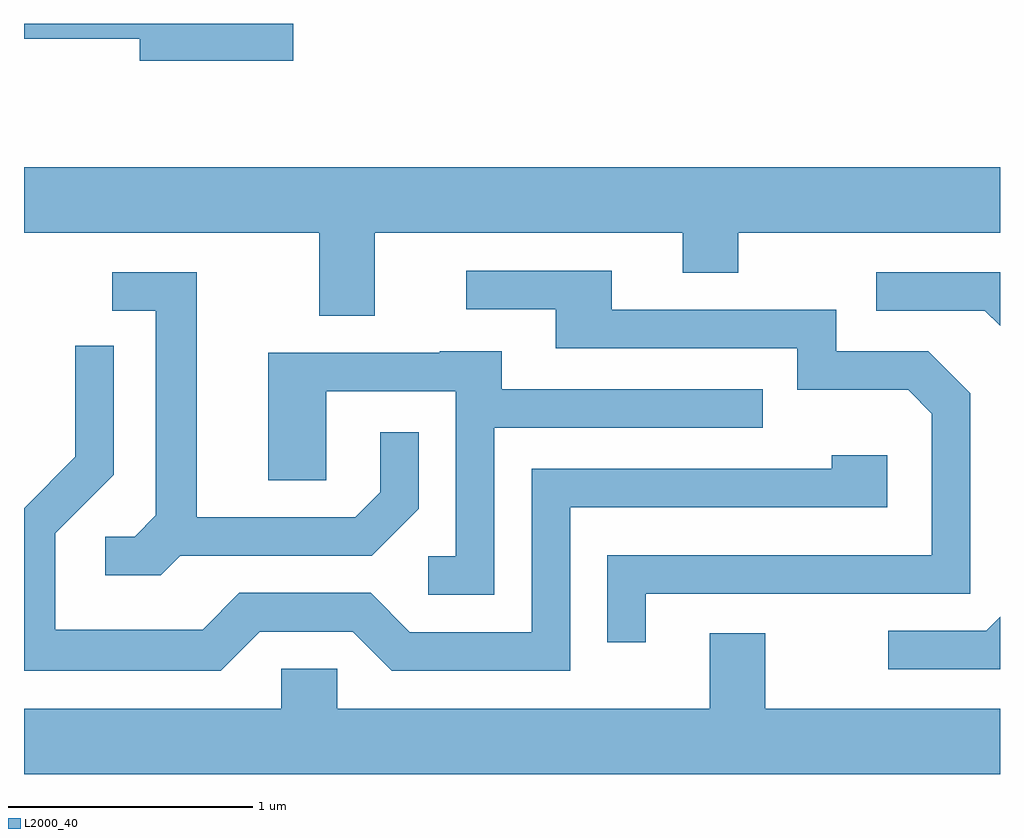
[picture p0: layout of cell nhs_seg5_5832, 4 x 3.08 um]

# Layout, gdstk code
import gdstk
lib = gdstk.Library(unit=1e-6, precision=1e-09)
def P(c, l, *ps):  # polygons
    for p in ps: c.add(gdstk.Polygon(p, *l))
L2000_40 = (2000, 40)

nhs_seg5_5832 = lib.new_cell('nhs_seg5_5832')
P(nhs_seg5_5832, L2000_40, [(358.714,1482.072),(357.611,1482.072),(357.611,1482.011),(358.086,1482.011),(358.086,1481.921),(358.714,1481.921)],
  [(359.049,1481.216),(360.311,1481.216),(360.311,1481.051),(360.539,1481.051),(360.539,1481.216),(361.611,1481.216),(361.611,1481.484),(357.611,1481.484),(357.611,1481.216),(358.821,1481.216),(358.821,1480.876),(359.049,1480.876)],
  [(360.159,1479.736),(361.489,1479.736),(361.489,1480.557),(361.317,1480.729),(360.939,1480.729),(360.939,1480.899),(360.019,1480.899),(360.019,1481.059),(359.423,1481.059),(359.423,1480.901),(359.791,1480.901),(359.791,1480.741),(360.781,1480.741),(360.781,1480.571),(361.234,1480.571),(361.331,1480.474),(361.331,1479.894),(360.001,1479.894),(360.001,1479.538),(360.159,1479.538)],
  [(361.611,1481.054),(361.103,1481.054),(361.103,1480.896),(361.549,1480.896),(361.611,1480.834)],
  [(358.252,1479.891),(359.037,1479.891),(359.229,1480.084),(359.229,1480.398),(359.071,1480.398),(359.071,1480.152),(358.969,1480.049),(358.319,1480.049),(358.319,1481.054),(357.973,1481.054),(357.973,1480.896),(358.151,1480.896),(358.151,1480.057),(358.064,1479.969),(357.943,1479.969),(357.943,1479.811),(358.172,1479.811)],
  [(358.577,1479.581),(358.959,1479.581),(359.119,1479.421),(359.849,1479.421),(359.849,1480.091),(361.149,1480.091),(361.149,1480.304),(360.921,1480.304),(360.921,1480.249),(359.691,1480.249),(359.691,1479.579),(359.192,1479.579),(359.032,1479.739),(358.494,1479.739),(358.344,1479.589),(357.739,1479.589),(357.739,1479.984),(357.979,1480.224),(357.979,1480.753),(357.821,1480.753),(357.821,1480.297),(357.611,1480.087),(357.611,1479.421),(358.417,1479.421)],
  [(359.539,1480.416),(360.638,1480.416),(360.638,1480.574),(359.569,1480.574),(359.569,1480.729),(359.315,1480.729),(359.315,1480.724),(358.611,1480.724),(358.611,1480.201),(358.849,1480.201),(358.849,1480.566),(359.381,1480.566),(359.381,1479.889),(359.268,1479.889),(359.268,1479.731),(359.539,1479.731)],
  [(361.611,1479.642),(361.554,1479.584),(361.153,1479.584),(361.153,1479.426),(361.611,1479.426)],
  [(361.611,1479.264),(360.649,1479.264),(360.649,1479.574),(360.421,1479.574),(360.421,1479.264),(358.894,1479.264),(358.894,1479.429),(358.666,1479.429),(358.666,1479.264),(357.611,1479.264),(357.611,1478.996),(361.611,1478.996)])

lib.write_gds('nhs_seg5_5832.gds')
